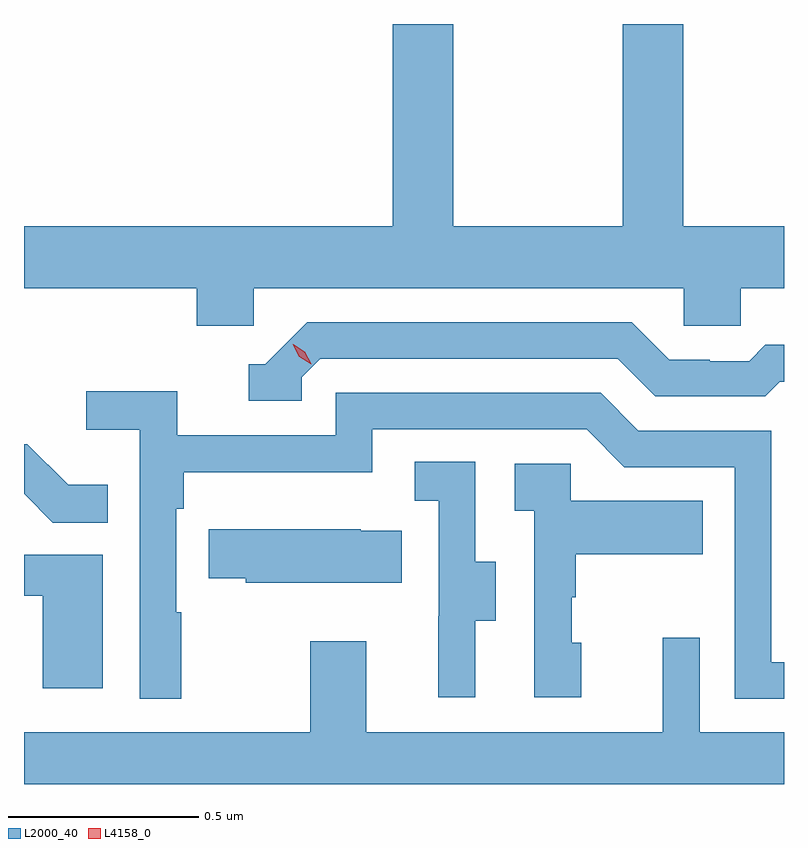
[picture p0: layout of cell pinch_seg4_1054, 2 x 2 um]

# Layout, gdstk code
import gdstk
lib = gdstk.Library(unit=1e-6, precision=1e-09)
def P(c, l, *ps):  # polygons
    for p in ps: c.add(gdstk.Polygon(p, *l))
L2000_40 = (2000, 40)
L4158_0 = (4158, 0)

pinch_seg4_1054 = lib.new_cell('pinch_seg4_1054')
P(pinch_seg4_1054, L2000_40, [(809.256,756.86),(810.387,756.86),(810.387,756.762),(810.537,756.762),(810.537,756.86),(810.651,756.86),(810.651,757.024),(810.386,757.024),(810.386,757.556),(810.226,757.556),(810.226,757.024),(809.781,757.024),(809.781,757.556),(809.621,757.556),(809.621,757.024),(808.651,757.024),(808.651,756.86),(809.105,756.86),(809.105,756.762),(809.256,756.762)],
  [(809.382,756.627),(809.43,756.675),(810.213,756.675),(810.312,756.576),(810.601,756.576),(810.64,756.615),(810.651,756.615),(810.651,756.712),(810.601,756.712),(810.559,756.669),(810.456,756.669),(810.456,756.672),(810.349,756.672),(810.25,756.771),(809.397,756.771),(809.286,756.66),(809.243,756.66),(809.243,756.564),(809.382,756.564)],
  [(809.065,756.008),(809.052,756.008),(809.052,756.281),(809.072,756.281),(809.072,756.377),(809.568,756.377),(809.568,756.489),(810.132,756.489),(810.231,756.39),(810.522,756.39),(810.522,755.781),(810.651,755.781),(810.651,755.877),(810.618,755.877),(810.618,756.486),(810.268,756.486),(810.169,756.585),(809.472,756.585),(809.472,756.474),(809.054,756.474),(809.054,756.59),(808.815,756.59),(808.815,756.488),(808.956,756.488),(808.956,755.781),(809.065,755.781)],
  [(808.871,756.343),(808.767,756.343),(808.66,756.45),(808.651,756.45),(808.651,756.32),(808.727,756.244),(808.871,756.244)],
  [(809.839,755.986),(809.893,755.986),(809.893,756.141),(809.838,756.141),(809.838,756.404),(809.679,756.404),(809.679,756.301),(809.742,756.301),(809.742,755.997),(809.741,755.997),(809.741,755.784),(809.839,755.784)],
  [(810.118,755.928),(810.093,755.928),(810.093,756.047),(810.103,756.047),(810.103,756.161),(810.437,756.161),(810.437,756.301),(810.09,756.301),(810.09,756.399),(809.943,756.399),(809.943,756.275),(809.994,756.275),(809.994,755.784),(810.118,755.784)],
  [(809.645,756.223),(809.537,756.223),(809.537,756.226),(809.137,756.226),(809.137,756.097),(809.235,756.097),(809.235,756.086),(809.645,756.086)],
  [(808.858,756.159),(808.651,756.159),(808.651,756.051),(808.7,756.051),(808.7,755.808),(808.858,755.808)],
  [(810.651,755.692),(810.429,755.692),(810.429,755.941),(810.332,755.941),(810.332,755.692),(809.551,755.692),(809.551,755.932),(809.404,755.932),(809.404,755.692),(808.651,755.692),(808.651,755.556),(810.651,755.556)])
P(pinch_seg4_1054, L4158_0, [(809.407,756.661),(809.375,756.68),(809.358,756.713),(809.358,756.713),(809.359,756.713),(809.39,756.694),(809.407,756.662),(809.407,756.661)])

lib.write_gds('pinch_seg4_1054.gds')
